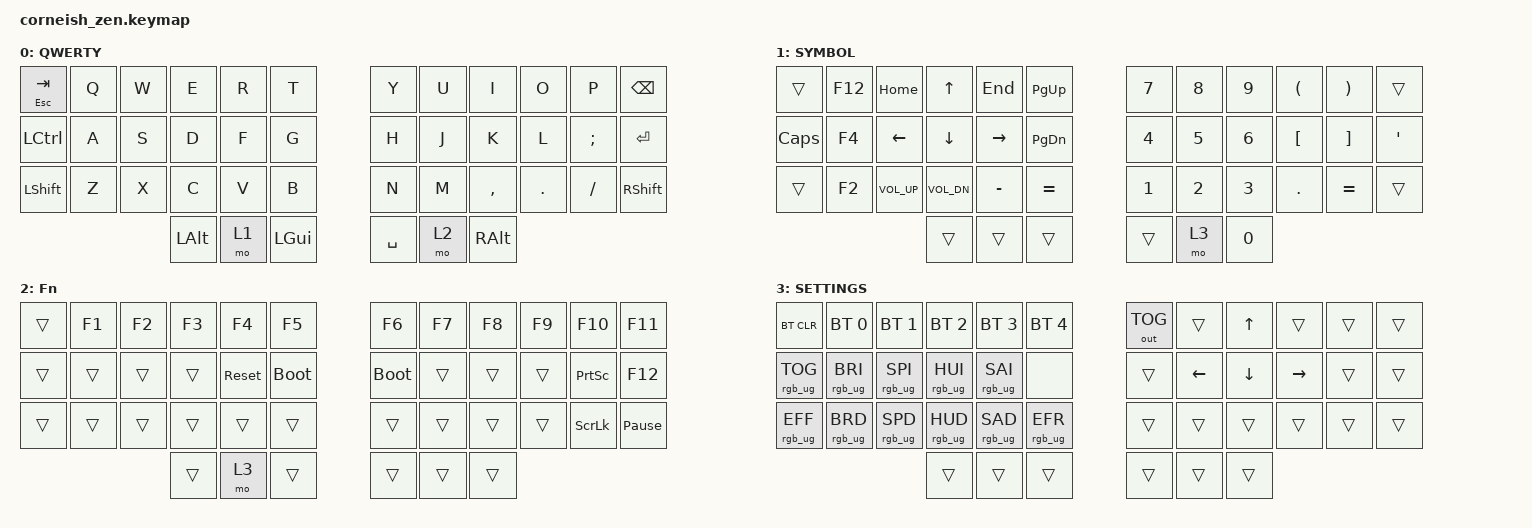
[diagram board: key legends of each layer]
/*
 * Copyright (c) 2020 The ZMK Contributors
 *
 * SPDX-License-Identifier: MIT
 */

#include <behaviors.dtsi>
#include <dt-bindings/zmk/bt.h>
#include <dt-bindings/zmk/keys.h>
#include <dt-bindings/zmk/outputs.h>
#include <dt-bindings/zmk/rgb.h>

/ {
    chosen {
        zmk,matrix_transform = &default_transform;

        // zmk,matrix_transform = &five_column_transform;
    };
};

/ {
    behaviors {
        td0: td0 {
            compatible = "zmk,behavior-tap-dance";
            label = "TD0";
            #binding-cells = <0>;
            bindings = <&kp LEFT_SHIFT>, <&kp CAPS>;
        };
    };

    keymap {
        compatible = "zmk,keymap";

        default_layer {
            display-name = "QWERTY";

            // --------------------------------------------------------------------------------
            // |  TAB |  Q  |  W  |  E  |  R  |  T  |   |  Y  |  U   |  I  |  O  |  P  | BKSP |
            // | CTRL |  A  |  S  |  D  |  F  |  G  |   |  H  |  J   |  K  |  L  |  ;  |  '   | 
            // | SHFT |  Z  |  X  |  C  |  V  |  B  |   |  N  |  M   |  ,  |  .  |  /  | ESC  |
            //                    | GUI | LWR | SPC |   | ENT | RSE  | ALT |

            bindings = <
&mt ESC TAB  &kp Q  &kp W  &kp E     &kp R  &kp T           &kp Y      &kp U  &kp I      &kp O    &kp P     &kp BSPC
&kp LCTRL    &kp A  &kp S  &kp D     &kp F  &kp G           &kp H      &kp J  &kp K      &kp L    &kp SEMI  &kp ENTER
&kp LSHFT    &kp Z  &kp X  &kp C     &kp V  &kp B           &kp N      &kp M  &kp COMMA  &kp DOT  &kp FSLH  &kp RSHFT
                           &kp LALT  &mo 1  &kp LEFT_GUI    &kp SPACE  &mo 2  &kp RALT
            >;
        };

        Layer_1 {
            display-name = "SYMBOL";

            // -----------------------------------------------------------------------------------------
            // |  TAB |  !  |  @  |  #  |  $  |  %  |   |  ^  |  &  |  *  |  (  |  )  | BKSP |
            // | CTRL |     |     |     |     |     |   |  -  |  =  |  [  |  ]  |  \  |  `   |
            // | SHFT |     |     |     |     |     |   |  _  |  +  |  {  |  }  | "|" |  ~   |
            //                    | GUI |     | SPC |   | ENT |     | ALT |

            bindings = <
&trans    &kp F12  &kp HOME      &kp UP        &kp END    &kp PG_UP    &kp N7  &kp N8  &kp N9  &kp LPAR          &kp RPAR           &trans
&kp CAPS  &kp F4   &kp LEFT      &kp DOWN      &kp RIGHT  &kp PG_DN    &kp N4  &kp N5  &kp N6  &kp LEFT_BRACKET  &kp RIGHT_BRACKET  &kp SQT
&trans    &kp F2   &kp C_VOL_UP  &kp C_VOL_DN  &kp MINUS  &kp EQUAL    &kp N1  &kp N2  &kp N3  &kp PERIOD        &kp EQUAL          &trans
                                 &trans        &trans     &trans       &trans  &mo 3   &kp N0
            >;
        };

        Layer_2 {
            display-name = "Fn";
            bindings = <
&trans  &kp F1  &kp F2  &kp F3  &kp F4      &kp F5         &kp F6       &kp F7  &kp F8  &kp F9  &kp F10          &kp F11
&trans  &trans  &trans  &trans  &sys_reset  &bootloader    &bootloader  &trans  &trans  &trans  &kp PRINTSCREEN  &kp F12
&trans  &trans  &trans  &trans  &trans      &trans         &trans       &trans  &trans  &trans  &kp SCROLLLOCK   &kp PAUSE_BREAK
                        &trans  &mo 3       &trans         &trans       &trans  &trans
            >;
        };

        Layer3 {
            display-name = "SETTINGS";

            // -----------------------------------------------------------------------------------------
            // |  TAB |  1  |  2  |  3  |  4  |  5  |   |  6  |  7  |  8  |  9  |  0  | BKSP |
            // | BTCLR| BT1 | BT2 | BT3 | BT4 | BT5 |   | LFT | DWN |  UP | RGT |     |      |
            // | SHFT |     |     |     |     |     |   |     |     |     |     |     |      |
            //                    | GUI |     | SPC |   | ENT |     | ALT |

            bindings = <
&bt BT_CLR       &bt BT_SEL 0     &bt BT_SEL 1     &bt BT_SEL 2     &bt BT_SEL 3     &bt BT_SEL 4       &out OUT_TOG  &trans    &kp UP    &trans     &trans  &trans
&rgb_ug RGB_TOG  &rgb_ug RGB_BRI  &rgb_ug RGB_SPI  &rgb_ug RGB_HUI  &rgb_ug RGB_SAI  &none              &trans        &kp LEFT  &kp DOWN  &kp RIGHT  &trans  &trans
&rgb_ug RGB_EFF  &rgb_ug RGB_BRD  &rgb_ug RGB_SPD  &rgb_ug RGB_HUD  &rgb_ug RGB_SAD  &rgb_ug RGB_EFR    &trans        &trans    &trans    &trans     &trans  &trans
                                                   &trans           &trans           &trans             &trans        &trans    &trans
            >;
        };
    };
};
